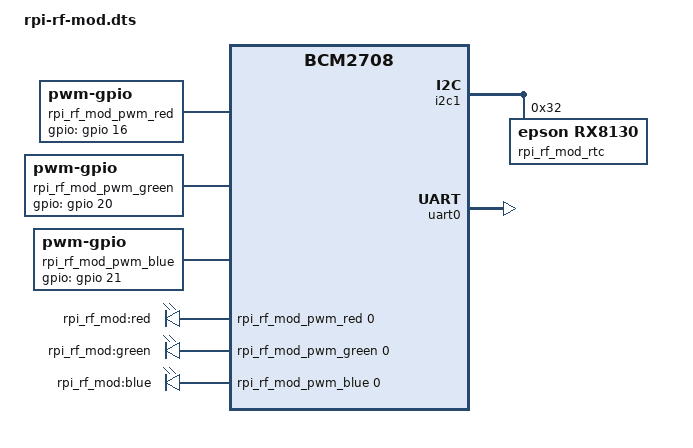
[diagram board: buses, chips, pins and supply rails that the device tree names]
/dts-v1/;
/plugin/;

/*
** Device Tree Overlay for eQ-3 RPI-RF-MOD and
** HM-MOD-RPI-PCB for RaspberryPi
**
** Copyright (c) 2018-2023 Jens Maus <mail@jens-maus.de>
** Licensed under Apache 2.0
**
*/

/ {
    compatible = "brcm,bcm2708";

    // fragment to ensure we have the correct gpio pin
    // setup for the RPI-RF-MOD
    fragment@0 {
        target = <&gpio>;
        __overlay__ {
            rpi_rf_mod_pins: rpi_rf_mod_pins {
                brcm,pins = <19 18 12 16 20 21>; // 19=reset, 18=reset (HM-MOD), 12=button, 16=red, 20=green, 21=blue
                brcm,pull = <0 0 2 0 0 0>; // 19,18=no-pullup, 12=pullup, 16,20,21=no-pullup
                brcm,function = <0 0 0 1 1 1>; // 19,18,12=input, 16,20,21=output
            };
        };
    };

    // fragment to keep the pin setup on the base leds node, where upstream's
    // overlay puts it (the reset lines and the button are inputs, the LED
    // pins outputs); the three LEDs themselves are the pwm-leds below
    fragment@1 {
        target = <&leds>;
        __overlay__ {
            pinctrl-names = "default";
            pinctrl-0 = <&rpi_rf_mod_pins>;
        };
    };

    // openccu-lite (task 315): the RPI-RF-MOD's RGB LED as three pwm-leds over
    // the kernel's software PWM (pwm-gpio, one hrtimer per channel) instead of
    // gpio-leds - 256 levels per channel for colour mixing and dimming, the
    // pattern trigger's fades and animations in the kernel. The labels, and so
    // the sysfs names rpi_rf_mod:red/green/blue, are upstream's: every writer
    // of triggers keeps working; only max_brightness is 255 instead of 1.
    // Period 4 ms (250 Hz). default-state "on" for red and green: the LED shows
    // the boot's yellow from the driver's probe on (and "keep" cannot work on
    // pwm-gpio, which has no state to read before its first apply).
    fragment@5 {
        target-path = "/";
        __overlay__ {
            rpi_rf_mod_pwm_red: rpi_rf_mod_pwm_red {
                compatible = "pwm-gpio";
                #pwm-cells = <3>;
                gpios = <&gpio 16 0>;
            };
            rpi_rf_mod_pwm_green: rpi_rf_mod_pwm_green {
                compatible = "pwm-gpio";
                #pwm-cells = <3>;
                gpios = <&gpio 20 0>;
            };
            rpi_rf_mod_pwm_blue: rpi_rf_mod_pwm_blue {
                compatible = "pwm-gpio";
                #pwm-cells = <3>;
                gpios = <&gpio 21 0>;
            };
            rpi_rf_mod_leds: rpi_rf_mod_leds {
                compatible = "pwm-leds";
                rpi_rf_mod_red: led-red {
                    label = "rpi_rf_mod:red";
                    pwms = <&rpi_rf_mod_pwm_red 0 4000000 0>;
                    max-brightness = <255>;
                    default-state = "on";
                    linux,default-trigger = "none";
                };
                rpi_rf_mod_green: led-green {
                    label = "rpi_rf_mod:green";
                    pwms = <&rpi_rf_mod_pwm_green 0 4000000 0>;
                    max-brightness = <255>;
                    default-state = "on";
                    linux,default-trigger = "none";
                };
                rpi_rf_mod_blue: led-blue {
                    label = "rpi_rf_mod:blue";
                    pwms = <&rpi_rf_mod_pwm_blue 0 4000000 0>;
                    max-brightness = <255>;
                    default-state = "off";
                    linux,default-trigger = "none";
                };
            };
        };
    };

    // fragment to define settings for the rx8130 RTC clock
    // of the RPI-RF-MOD
    fragment@2 {
        target = <&i2c1>;
        __overlay__ {
            #address-cells = <1>;
            #size-cells = <0>;
            status = "okay";

            rpi_rf_mod_rtc: rx8130@32 {
                compatible = "epson,rx8130";
                reg = <0x32>;
                status = "okay";
                aux-voltage-chargeable = <1>;
            };
        };
    };

    // fragment to define uart/serial dependencies for
    // generic_raw_uart
    fragment@3 {
        target = <&uart0>;
        __overlay__ {
            compatible = "pivccu,pl011";
            status = "okay";
            pivccu,reset-gpios = <&gpio 18 0>, <&gpio 19 0>; // HM-MOD-RPI-PCB, RPI-RF-MOD
            pivccu,led-gpios = <&gpio 16 0>, <&gpio 20 0>, <&gpio 21 0>; // RPI-RF-MOD
            pivccu,rtc = <&rpi_rf_mod_rtc>;       // RPI-RF-MOD
        };
    };

    // fragment to make sure that stdout-path under chosen
    // is empty so that the above uart0 fragment does not
    // interfere with u-boot trying to access serial drivers.
    fragment@4 {
        target = <&chosen>;
        __overlay__ {
            stdout-path = "";
        };
    };
};
